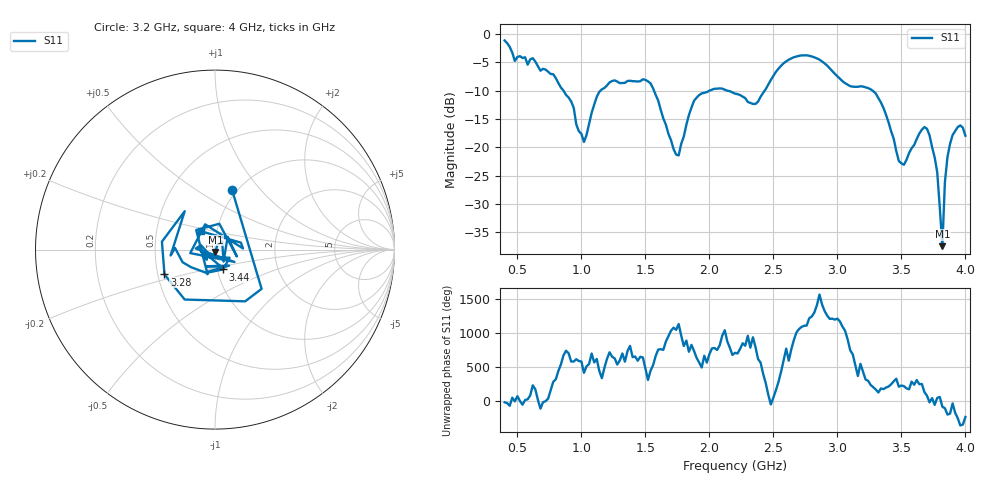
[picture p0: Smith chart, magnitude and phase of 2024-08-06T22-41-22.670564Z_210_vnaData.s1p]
!Created with skrf (http://scikit-rf.org).
# Hz S RI R 50.0
!freq ReS11 ImS11
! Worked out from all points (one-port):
!   181 points, 400 MHz to 4 GHz, reference 50 ohm
!   lowest |S11| = -37.4 dB at 3.82 GHz (marker M1), VSWR 1.03, Z = 50.2 - j1.34 ohm
!   |S11| at or under -10 dB: 860.6 MHz to 1.148 GHz (287.8 MHz wide, 28.7 % of centre); 1.567 GHz to 1.999 GHz (431.3 MHz wide, 24.2 % of centre); 3.276 GHz to end of sweep (the widest 3 of 4)
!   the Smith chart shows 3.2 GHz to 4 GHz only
!   S11 on the Smith chart (normalised r, x): 3.2 GHz: 0.95, +0.71; 3.28 GHz: 0.54, -0.17; 3.44 GHz: 1.07, -0.24; 4 GHz: 0.84, +0.17
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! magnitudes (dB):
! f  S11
! 400 MHz  -1.1
! 480 MHz  -4.7
! 620 MHz  -4.3
! 860 MHz  -10.0
! 1.02 GHz  -19.0
! 1.14 GHz  -10.2
! 1.3 GHz  -8.7
! 1.54 GHz  -8.7
! 1.76 GHz  -21.4
! 1.9 GHz  -11.2
! 2.2 GHz  -10.5
! 2.36 GHz  -12.3
! 2.66 GHz  -4.1
! 2.86 GHz  -4.5
! 3.1 GHz  -9.2
! 3.2 GHz  -9.3
! 3.28 GHz  -10.1
! 3.44 GHz  -18.5
! 3.48 GHz  -22.4
! 3.56 GHz  -21.0
! 3.68 GHz  -16.4
! 3.72 GHz  -17.9
! 3.78 GHz  -24.4
! 3.82 GHz  -37.4
! 3.84 GHz  -26.1
! 3.88 GHz  -19.4
! 3.96 GHz  -16.1
! 4 GHz  -17.9
